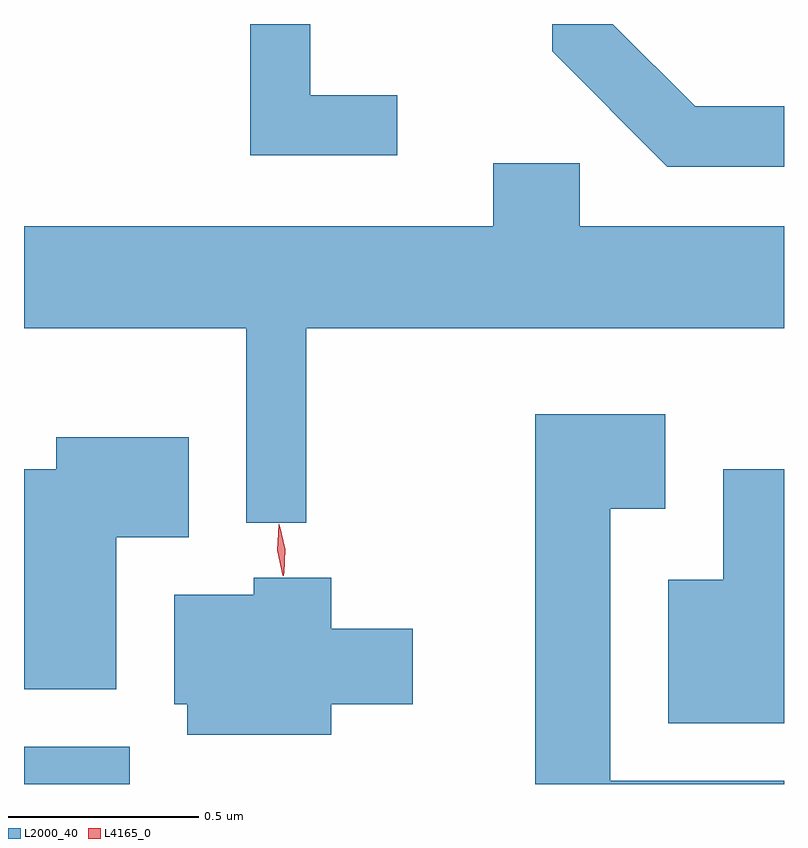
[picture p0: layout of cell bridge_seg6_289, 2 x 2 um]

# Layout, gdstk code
import gdstk
lib = gdstk.Library(unit=1e-6, precision=1e-09)
def R(c, l, rs):  # rectangles x0, y0, x1, y1
    for r in rs: c.add(gdstk.rectangle(r[:2], r[2:], *l))
def P(c, l, *ps):  # polygons
    for p in ps: c.add(gdstk.Polygon(p, *l))
L2000_40 = (2000, 40)
L4165_0 = (4165, 0)

bridge_seg6_289 = lib.new_cell('bridge_seg6_289')
R(bridge_seg6_289, L2000_40, [(1255.501,1564.376,1255.779,1564.474)])
P(bridge_seg6_289, L2000_40, [(1256.483,1566.189),(1256.254,1566.189),(1256.254,1566.376),(1256.096,1566.376),(1256.096,1566.031),(1256.483,1566.031)],
  [(1257.501,1566.159),(1257.267,1566.159),(1257.05,1566.376),(1256.891,1566.376),(1256.891,1566.304),(1257.194,1566.001),(1257.501,1566.001)],
  [(1256.244,1565.576),(1257.501,1565.576),(1257.501,1565.844),(1256.964,1565.844),(1256.964,1566.009),(1256.736,1566.009),(1256.736,1565.844),(1255.501,1565.844),(1255.501,1565.576),(1256.086,1565.576),(1256.086,1565.063),(1256.244,1565.063)],
  [(1257.501,1564.384),(1257.044,1564.384),(1257.044,1565.101),(1257.189,1565.101),(1257.189,1565.349),(1256.846,1565.349),(1256.846,1564.376),(1257.501,1564.376)],
  [(1255.744,1565.026),(1255.934,1565.026),(1255.934,1565.289),(1255.586,1565.289),(1255.586,1565.204),(1255.501,1565.204),(1255.501,1564.626),(1255.744,1564.626)],
  [(1257.501,1565.204),(1257.341,1565.204),(1257.341,1564.914),(1257.196,1564.914),(1257.196,1564.536),(1257.501,1564.536)],
  [(1256.309,1564.586),(1256.524,1564.586),(1256.524,1564.784),(1256.309,1564.784),(1256.309,1564.919),(1256.106,1564.919),(1256.106,1564.874),(1255.896,1564.874),(1255.896,1564.586),(1255.931,1564.586),(1255.931,1564.506),(1256.309,1564.506)])
P(bridge_seg6_289, L4165_0, [(1256.182,1564.924),(1256.168,1564.991),(1256.172,1565.059),(1256.173,1565.06),(1256.173,1565.059),(1256.188,1564.992),(1256.184,1564.924),(1256.183,1564.924)],
  [(1256.185,1564.93),(1256.169,1564.992),(1256.172,1565.056),(1256.173,1565.056),(1256.174,1565.056),(1256.189,1564.994),(1256.186,1564.93),(1256.186,1564.93)])

lib.write_gds('bridge_seg6_289.gds')
